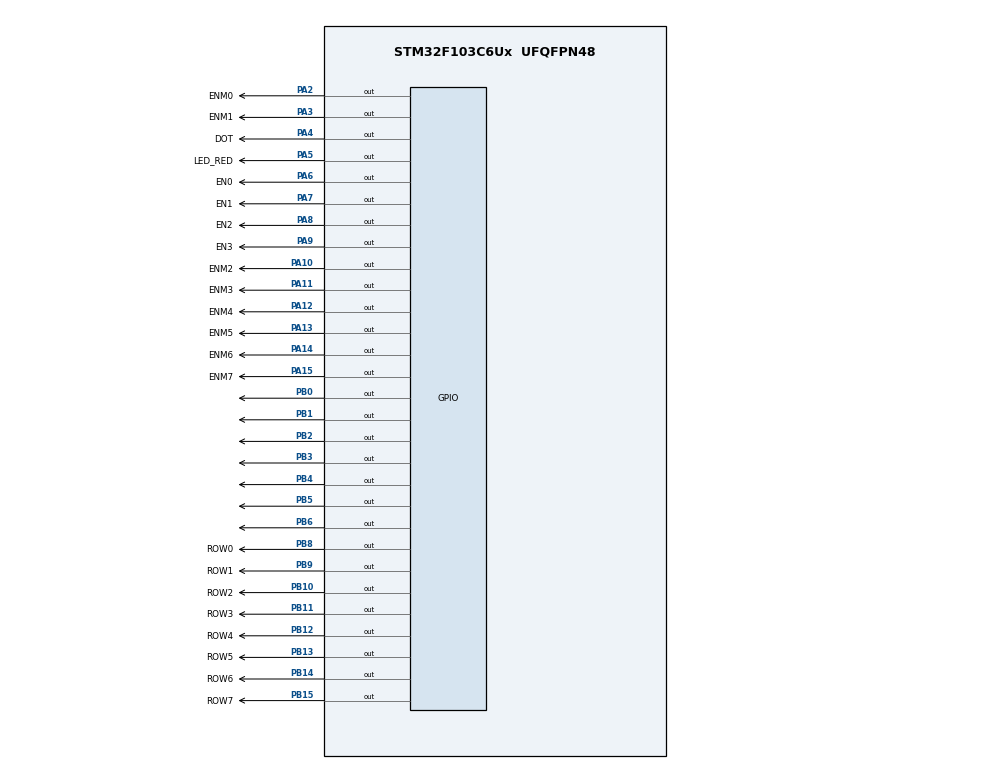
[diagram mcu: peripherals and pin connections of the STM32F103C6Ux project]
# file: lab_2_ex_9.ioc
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Mcu.Family=STM32F1
Mcu.Name=STM32F103C6Ux
Mcu.Package=UFQFPN48
NVIC.PriorityGroup=NVIC_PRIORITYGROUP_4
NVIC.TIM2_IRQn=true\:0\:0\:false\:false\:true\:true\:true\:true
PA10.GPIO_Label=ENM2
PA10.Signal=GPIO_Output
PA11.GPIO_Label=ENM3
PA11.Signal=GPIO_Output
PA12.GPIO_Label=ENM4
PA12.Signal=GPIO_Output
PA13.GPIO_Label=ENM5
PA13.Signal=GPIO_Output
PA14.GPIO_Label=ENM6
PA14.Signal=GPIO_Output
PA15.GPIO_Label=ENM7
PA15.Signal=GPIO_Output
PA2.GPIO_Label=ENM0
PA2.Signal=GPIO_Output
PA3.GPIO_Label=ENM1
PA3.Signal=GPIO_Output
PA4.GPIO_Label=DOT
PA4.Signal=GPIO_Output
PA5.GPIO_Label=LED_RED
PA5.Signal=GPIO_Output
PA6.GPIO_Label=EN0
PA6.Signal=GPIO_Output
PA7.GPIO_Label=EN1
PA7.Signal=GPIO_Output
PA8.GPIO_Label=EN2
PA8.Signal=GPIO_Output
PA9.GPIO_Label=EN3
PA9.Signal=GPIO_Output
PB0.Signal=GPIO_Output
PB1.Signal=GPIO_Output
PB10.GPIO_Label=ROW2
PB10.Signal=GPIO_Output
PB11.GPIO_Label=ROW3
PB11.Signal=GPIO_Output
PB12.GPIO_Label=ROW4
PB12.Signal=GPIO_Output
PB13.GPIO_Label=ROW5
PB13.Signal=GPIO_Output
PB14.GPIO_Label=ROW6
PB14.Signal=GPIO_Output
PB15.GPIO_Label=ROW7
PB15.Signal=GPIO_Output
PB2.Signal=GPIO_Output
PB3.Signal=GPIO_Output
PB4.Signal=GPIO_Output
PB5.Signal=GPIO_Output
PB6.Signal=GPIO_Output
PB8.GPIO_Label=ROW0
PB8.Signal=GPIO_Output
PB9.GPIO_Label=ROW1
PB9.Signal=GPIO_Output
ProjectManager.HeapSize=0x200
ProjectManager.StackSize=0x400
ProjectManager.TargetToolchain=STM32CubeIDE
RCC.APB1Freq_Value=8000000
RCC.APB2Freq_Value=8000000
TIM2.Period=9
TIM2.Prescaler=7999
VP_TIM2_VS_ClockSourceINT.Mode=Internal
board=custom

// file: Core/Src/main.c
/* USER CODE BEGIN Header */
/**
  ******************************************************************************
  * @file           : main.c
  * @brief          : Main program body
  ******************************************************************************
  * @attention
  *
  * <h2><center>&copy; Copyright (c) 2024 STMicroelectronics.
  * All rights reserved.</center></h2>
  *
  * This software component is licensed by ST under BSD 3-Clause license,
  * the "License"; You may not use this file except in compliance with the
  * License. You may obtain a copy of the License at:
  *                        opensource.org/licenses/BSD-3-Clause
  *
  ******************************************************************************
  */
/* USER CODE END Header */
#include "main.h"

TIM_HandleTypeDef htim2;

void SystemClock_Config(void);
static void MX_GPIO_Init(void);
static void MX_TIM2_Init(void);
/* USER CODE BEGIN PFP */
void display7SEG(int num);
void update7SEG(int index);
void updateClockBuffer(int hour, int minute);
void updateLEDMatrix(int index);
/* USER CODE END PFP */

int main(void)
{

  /* MCU Configuration--------------------------------------------------------*/

  /* Reset of all peripherals, Initializes the Flash interface and the Systick. */
  HAL_Init();

  /* Configure the system clock */
  SystemClock_Config();

  /* Initialize all configured peripherals */
  MX_GPIO_Init();
  MX_TIM2_Init();
  /* USER CODE BEGIN 2 */
  HAL_TIM_Base_Start(&htim2);

   // Main Loop
   while (1) {
       for (int i = 0; i < 8; i++) {
           updateLEDMatrix(i);
           HAL_Delay(100); // Adjust delay as necessary for visibility
       }
   }

}

void SystemClock_Config(void)
{
  RCC_OscInitTypeDef RCC_OscInitStruct = {0};
  RCC_ClkInitTypeDef RCC_ClkInitStruct = {0};

  /** Initializes the RCC Oscillators according to the specified parameters
  * in the RCC_OscInitTypeDef structure.
  */
  RCC_OscInitStruct.OscillatorType = RCC_OSCILLATORTYPE_HSI;
  RCC_OscInitStruct.HSIState = RCC_HSI_ON;
  RCC_OscInitStruct.HSICalibrationValue = RCC_HSICALIBRATION_DEFAULT;
  RCC_OscInitStruct.PLL.PLLState = RCC_PLL_NONE;
  if (HAL_RCC_OscConfig(&RCC_OscInitStruct) != HAL_OK)
  {
    Error_Handler();
  }

  /** Initializes the CPU, AHB and APB buses clocks
  */
  RCC_ClkInitStruct.ClockType = RCC_CLOCKTYPE_HCLK|RCC_CLOCKTYPE_SYSCLK
                              |RCC_CLOCKTYPE_PCLK1|RCC_CLOCKTYPE_PCLK2;
  RCC_ClkInitStruct.SYSCLKSource = RCC_SYSCLKSOURCE_HSI;
  RCC_ClkInitStruct.AHBCLKDivider = RCC_SYSCLK_DIV1;
  RCC_ClkInitStruct.APB1CLKDivider = RCC_HCLK_DIV1;
  RCC_ClkInitStruct.APB2CLKDivider = RCC_HCLK_DIV1;

  if (HAL_RCC_ClockConfig(&RCC_ClkInitStruct, FLASH_LATENCY_0) != HAL_OK)
  {
    Error_Handler();
  }
}

static void MX_TIM2_Init(void)
{

  TIM_ClockConfigTypeDef sClockSourceConfig = {0};
  TIM_MasterConfigTypeDef sMasterConfig = {0};

  htim2.Instance = TIM2;
  htim2.Init.Prescaler = 7999;
  htim2.Init.CounterMode = TIM_COUNTERMODE_UP;
  htim2.Init.Period = 9;
  htim2.Init.ClockDivision = TIM_CLOCKDIVISION_DIV1;
  htim2.Init.AutoReloadPreload = TIM_AUTORELOAD_PRELOAD_DISABLE;
  if (HAL_TIM_Base_Init(&htim2) != HAL_OK)
  {
    Error_Handler();
  }
  sClockSourceConfig.ClockSource = TIM_CLOCKSOURCE_INTERNAL;
  if (HAL_TIM_ConfigClockSource(&htim2, &sClockSourceConfig) != HAL_OK)
  {
    Error_Handler();
  }
  sMasterConfig.MasterOutputTrigger = TIM_TRGO_RESET;
  sMasterConfig.MasterSlaveMode = TIM_MASTERSLAVEMODE_DISABLE;
  if (HAL_TIMEx_MasterConfigSynchronization(&htim2, &sMasterConfig) != HAL_OK)
  {
    Error_Handler();
  }

}

static void MX_GPIO_Init(void)
{
  GPIO_InitTypeDef GPIO_InitStruct = {0};

  /* GPIO Ports Clock Enable */
  __HAL_RCC_GPIOA_CLK_ENABLE();
  __HAL_RCC_GPIOB_CLK_ENABLE();

  /*Configure GPIO pin Output Level */
  HAL_GPIO_WritePin(GPIOA, ENM0_Pin|ENM1_Pin|DOT_Pin|LED_RED_Pin
                          |EN0_Pin|EN1_Pin|EN2_Pin|EN3_Pin
                          |ENM2_Pin|ENM3_Pin|ENM4_Pin|ENM5_Pin
                          |ENM6_Pin|ENM7_Pin, GPIO_PIN_RESET);

  /*Configure GPIO pin Output Level */
  HAL_GPIO_WritePin(GPIOB, GPIO_PIN_0|GPIO_PIN_1|GPIO_PIN_2|ROW2_Pin
                          |ROW3_Pin|ROW4_Pin|ROW5_Pin|ROW6_Pin
                          |ROW7_Pin|GPIO_PIN_3|GPIO_PIN_4|GPIO_PIN_5
                          |GPIO_PIN_6|ROW0_Pin|ROW1_Pin, GPIO_PIN_RESET);

  /*Configure GPIO pins : ENM0_Pin ENM1_Pin DOT_Pin LED_RED_Pin
                           EN0_Pin EN1_Pin EN2_Pin EN3_Pin
                           ENM2_Pin ENM3_Pin ENM4_Pin ENM5_Pin
                           ENM6_Pin ENM7_Pin */
  GPIO_InitStruct.Pin = ENM0_Pin|ENM1_Pin|DOT_Pin|LED_RED_Pin
                          |EN0_Pin|EN1_Pin|EN2_Pin|EN3_Pin
                          |ENM2_Pin|ENM3_Pin|ENM4_Pin|ENM5_Pin
                          |ENM6_Pin|ENM7_Pin;
  GPIO_InitStruct.Mode = GPIO_MODE_OUTPUT_PP;
  GPIO_InitStruct.Pull = GPIO_NOPULL;
  GPIO_InitStruct.Speed = GPIO_SPEED_FREQ_LOW;
  HAL_GPIO_Init(GPIOA, &GPIO_InitStruct);

  /*Configure GPIO pins : PB0 PB1 PB2 ROW2_Pin
                           ROW3_Pin ROW4_Pin ROW5_Pin ROW6_Pin
                           ROW7_Pin PB3 PB4 PB5
                           PB6 ROW0_Pin ROW1_Pin */
  GPIO_InitStruct.Pin = GPIO_PIN_0|GPIO_PIN_1|GPIO_PIN_2|ROW2_Pin
                          |ROW3_Pin|ROW4_Pin|ROW5_Pin|ROW6_Pin
                          |ROW7_Pin|GPIO_PIN_3|GPIO_PIN_4|GPIO_PIN_5
                          |GPIO_PIN_6|ROW0_Pin|ROW1_Pin;
  GPIO_InitStruct.Mode = GPIO_MODE_OUTPUT_PP;
  GPIO_InitStruct.Pull = GPIO_NOPULL;
  GPIO_InitStruct.Speed = GPIO_SPEED_FREQ_LOW;
  HAL_GPIO_Init(GPIOB, &GPIO_InitStruct);

}

/* USER CODE BEGIN 4 */

/* matrix_buffer display letter A
 *   01234567
 * 0    oo
 * 1   oooo
 * 2  oo  oo
 * 3  oo  oo
 * 4 oooooooo
 * 5 oooooooo
 * 6 oo    oo
 * 7 oo    oo
 */
uint32_t matrix_buffer[8] = {
		ROW4_Pin|ROW5_Pin|ROW6_Pin|ROW7_Pin,
		ROW2_Pin|ROW3_Pin|ROW4_Pin|ROW5_Pin|ROW6_Pin|ROW7_Pin,
		ROW1_Pin|ROW2_Pin|ROW3_Pin|ROW4_Pin,
		ROW0_Pin|ROW1_Pin|ROW4_Pin|ROW5_Pin,
		ROW0_Pin|ROW1_Pin|ROW4_Pin|ROW5_Pin,
		ROW1_Pin|ROW2_Pin|ROW3_Pin|ROW4_Pin,
		ROW2_Pin|ROW3_Pin|ROW4_Pin|ROW5_Pin|ROW6_Pin|ROW7_Pin,
		ROW4_Pin|ROW5_Pin|ROW6_Pin|ROW7_Pin
};
void updateLEDMatrix (int index) {
	HAL_GPIO_WritePin(ROW0_GPIO_Port, ROW0_Pin, SET);
	HAL_GPIO_WritePin(ROW1_GPIO_Port, ROW1_Pin, SET);
	HAL_GPIO_WritePin(ROW2_GPIO_Port, ROW2_Pin, SET);
	HAL_GPIO_WritePin(ROW3_GPIO_Port, ROW3_Pin, SET);
	HAL_GPIO_WritePin(ROW4_GPIO_Port, ROW4_Pin, SET);
	HAL_GPIO_WritePin(ROW5_GPIO_Port, ROW5_Pin, SET);
	HAL_GPIO_WritePin(ROW6_GPIO_Port, ROW6_Pin, SET);
	HAL_GPIO_WritePin(ROW7_GPIO_Port, ROW7_Pin, SET);

	HAL_GPIO_WritePin(ENM0_GPIO_Port, ENM0_Pin, SET);
	HAL_GPIO_WritePin(ENM1_GPIO_Port, ENM1_Pin, SET);
	HAL_GPIO_WritePin(ENM2_GPIO_Port, ENM2_Pin, SET);
	HAL_GPIO_WritePin(ENM3_GPIO_Port, ENM3_Pin, SET);
	HAL_GPIO_WritePin(ENM4_GPIO_Port, ENM4_Pin, SET);
	HAL_GPIO_WritePin(ENM5_GPIO_Port, ENM5_Pin, SET);
	HAL_GPIO_WritePin(ENM6_GPIO_Port, ENM6_Pin, SET);
	HAL_GPIO_WritePin(ENM7_GPIO_Port, ENM7_Pin, SET);

	switch(index){
	case 0:
		HAL_GPIO_WritePin(ENM0_GPIO_Port, ENM0_Pin, RESET);
		break;
	case 1:
		HAL_GPIO_WritePin(ENM0_GPIO_Port, ENM1_Pin, RESET);
		break;
	case 2:
		HAL_GPIO_WritePin(ENM0_GPIO_Port, ENM2_Pin, RESET);
		break;
	case 3:
		HAL_GPIO_WritePin(ENM0_GPIO_Port, ENM3_Pin, RESET);
		break;
	case 4:
		HAL_GPIO_WritePin(ENM0_GPIO_Port, ENM4_Pin, RESET);
		break;
	case 5:
		HAL_GPIO_WritePin(ENM0_GPIO_Port, ENM5_Pin, RESET);
		break;
	case 6:
		HAL_GPIO_WritePin(ENM0_GPIO_Port, ENM6_Pin, RESET);
		break;
	case 7:
		HAL_GPIO_WritePin(ENM0_GPIO_Port, ENM7_Pin, RESET);
		break;
	default:
		break;
	}

	HAL_GPIO_WritePin(GPIOB, matrix_buffer[index], RESET);
}
/* USER CODE END 4 */

void Error_Handler(void)
{
  __disable_irq();
  while (1)
  {
  }
}
